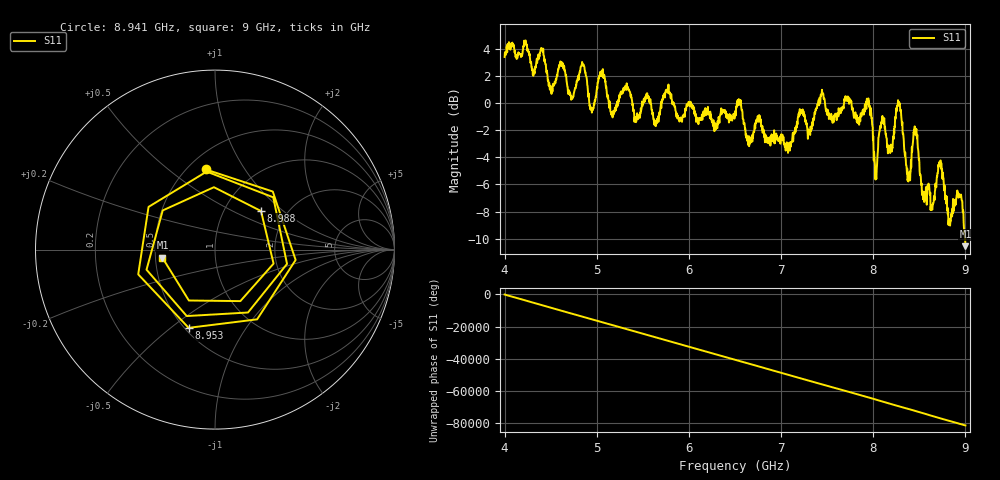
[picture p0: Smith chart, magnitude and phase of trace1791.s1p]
! Created with skrf 1.8.0 (http://scikit-rf.org).
# Hz S RI R 50.0
!freq ReS11 ImS11
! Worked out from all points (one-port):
!   1601 points, 4 GHz to 9 GHz, reference 50 ohm
!   lowest |S11| = -10.6 dB at 9 GHz (marker M1), VSWR 1.84, Z = 27.2 - j2.69 ohm
!   |S11| at or under -10 dB: 8.997335 GHz to end of sweep
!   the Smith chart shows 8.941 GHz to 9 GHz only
!   S11 on the Smith chart (normalised r, x): 8.941 GHz: 0.61, +0.68; 8.953 GHz: 0.52, -0.58; 8.988 GHz: 1.48, +0.72; 9 GHz: 0.54, -0.05
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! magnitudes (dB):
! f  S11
! 4 GHz  3.4
! 4.403 GHz  4.0
! 4.503 GHz  0.8
! 4.625 GHz  3.0
! 4.728 GHz  0.5
! 4.853 GHz  2.9
! 4.944 GHz  -0.4
! 5.044 GHz  2.2
! 5.169 GHz  -0.9
! 5.25 GHz  0.4
! 5.875 GHz  -1.1
! 6.5 GHz  -0.6
! 7.125 GHz  -2.4
! 7.75 GHz  0.3
! 7.953 GHz  0.1
! 8.028 GHz  -4.8
! 8.084 GHz  -1.6
! 8.184 GHz  -3.7
! 8.275 GHz  0.0
! 8.375 GHz  -5.6
! 8.456 GHz  -2.3
! 8.556 GHz  -6.8
! 8.722 GHz  -4.4
! 8.828 GHz  -9.0
! 8.941 GHz  -6.9
! 8.953 GHz  -6.7
! 8.988 GHz  -9.5
! 9 GHz  -10.6
